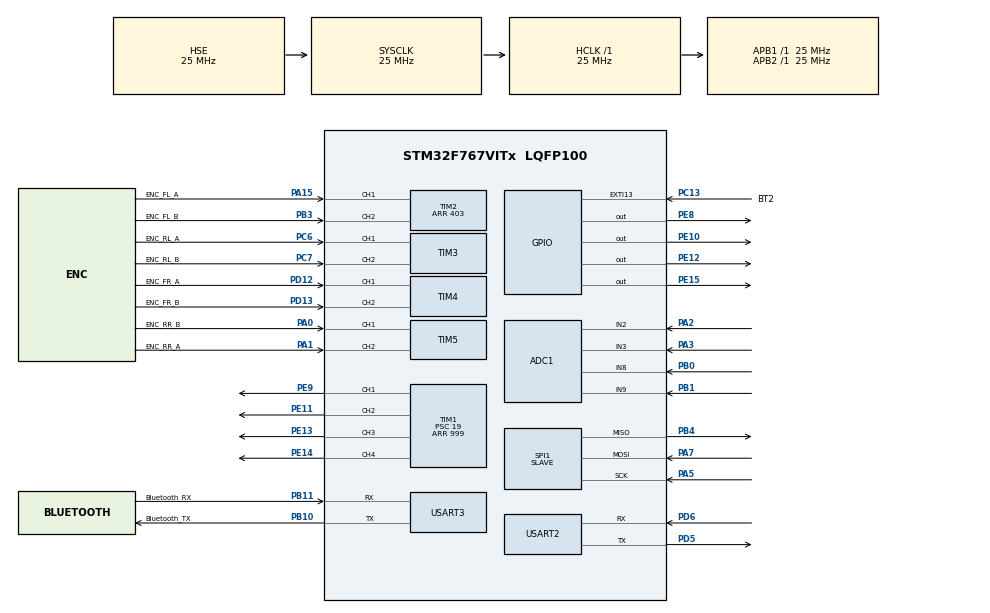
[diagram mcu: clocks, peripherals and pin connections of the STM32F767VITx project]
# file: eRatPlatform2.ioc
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ADC1.Channel-0\#ChannelRegularConversion=ADC_CHANNEL_9
ADC1.Channel-1\#ChannelRegularConversion=ADC_CHANNEL_8
ADC1.Channel-2\#ChannelRegularConversion=ADC_CHANNEL_3
ADC1.Channel-3\#ChannelRegularConversion=ADC_CHANNEL_2
ADC1.ContinuousConvMode=ENABLE
ADC1.DMAContinuousRequests=ENABLE
ADC1.EOCSelection=ADC_EOC_SEQ_CONV
ADC1.EnableAnalogWatchDog=false
ADC1.NbrOfConversion=4
ADC1.NbrOfConversionFlag=1
ADC1.Rank-0\#ChannelRegularConversion=1
ADC1.Rank-1\#ChannelRegularConversion=2
ADC1.Rank-2\#ChannelRegularConversion=3
ADC1.Rank-3\#ChannelRegularConversion=4
ADC1.SamplingTime-0\#ChannelRegularConversion=ADC_SAMPLETIME_480CYCLES
ADC1.SamplingTime-1\#ChannelRegularConversion=ADC_SAMPLETIME_480CYCLES
ADC1.SamplingTime-2\#ChannelRegularConversion=ADC_SAMPLETIME_480CYCLES
ADC1.SamplingTime-3\#ChannelRegularConversion=ADC_SAMPLETIME_480CYCLES
ADC1.master=1
Dma.ADC1.0.Direction=DMA_PERIPH_TO_MEMORY
Dma.ADC1.0.FIFOMode=DMA_FIFOMODE_DISABLE
Dma.ADC1.0.Instance=DMA2_Stream0
Dma.ADC1.0.MemDataAlignment=DMA_MDATAALIGN_HALFWORD
Dma.ADC1.0.MemInc=DMA_MINC_ENABLE
Dma.ADC1.0.Mode=DMA_CIRCULAR
Dma.ADC1.0.PeriphDataAlignment=DMA_PDATAALIGN_HALFWORD
Dma.ADC1.0.PeriphInc=DMA_PINC_DISABLE
Dma.ADC1.0.Priority=DMA_PRIORITY_LOW
Dma.Request0=ADC1
Dma.Request1=USART3_RX
Dma.Request2=USART3_TX
Dma.USART3_RX.1.Direction=DMA_PERIPH_TO_MEMORY
Dma.USART3_RX.1.FIFOMode=DMA_FIFOMODE_DISABLE
Dma.USART3_RX.1.Instance=DMA1_Stream1
Dma.USART3_RX.1.MemDataAlignment=DMA_MDATAALIGN_BYTE
Dma.USART3_RX.1.MemInc=DMA_MINC_ENABLE
Dma.USART3_RX.1.Mode=DMA_NORMAL
Dma.USART3_RX.1.PeriphDataAlignment=DMA_PDATAALIGN_BYTE
Dma.USART3_RX.1.PeriphInc=DMA_PINC_DISABLE
Dma.USART3_RX.1.Priority=DMA_PRIORITY_LOW
Dma.USART3_TX.2.Direction=DMA_MEMORY_TO_PERIPH
Dma.USART3_TX.2.FIFOMode=DMA_FIFOMODE_DISABLE
Dma.USART3_TX.2.Instance=DMA1_Stream3
Dma.USART3_TX.2.MemDataAlignment=DMA_MDATAALIGN_BYTE
Dma.USART3_TX.2.MemInc=DMA_MINC_ENABLE
Dma.USART3_TX.2.Mode=DMA_NORMAL
Dma.USART3_TX.2.PeriphDataAlignment=DMA_PDATAALIGN_BYTE
Dma.USART3_TX.2.PeriphInc=DMA_PINC_DISABLE
Dma.USART3_TX.2.Priority=DMA_PRIORITY_LOW
FREERTOS.Tasks01=defaultTask,0,128,StartDefaultTask,Default,NULL
Mcu.Family=STM32F7
Mcu.Name=STM32F767VITx
Mcu.Package=LQFP100
NVIC.ADC_IRQn=true\:5\:0\:false\:false\:true\:true\:true\:true
NVIC.DMA1_Stream1_IRQn=true\:5\:0\:false\:false\:true\:true\:false\:true
NVIC.DMA1_Stream3_IRQn=true\:5\:0\:false\:false\:true\:true\:false\:true
NVIC.DMA2_Stream0_IRQn=true\:5\:0\:false\:false\:true\:true\:false\:true
NVIC.EXTI15_10_IRQn=true\:0\:0\:false\:false\:true\:false\:true\:true
NVIC.PriorityGroup=NVIC_PRIORITYGROUP_4
NVIC.TIM8_TRG_COM_TIM14_IRQn=true\:0\:0\:false\:false\:true\:false\:false\:true
NVIC.TimeBase=TIM8_TRG_COM_TIM14_IRQn
NVIC.TimeBaseIP=TIM14
NVIC.USART3_IRQn=true\:5\:0\:false\:false\:true\:true\:true\:true
PA0/WKUP.GPIO_Label=ENC_RR_B
PA0/WKUP.Signal=S_TIM5_CH1
PA1.GPIO_Label=ENC_RR_A
PA1.Signal=S_TIM5_CH2
PA13.Mode=Serial_Wire
PA13.Signal=SYS_JTMS-SWDIO
PA14.Mode=Serial_Wire
PA14.Signal=SYS_JTCK-SWCLK
PA15.GPIO_Label=ENC_FL_A
PA15.Signal=S_TIM2_CH1_ETR
PA2.Signal=ADCx_IN2
PA3.Signal=ADCx_IN3
PA5.Mode=Full_Duplex_Slave
PA5.Signal=SPI1_SCK
PA7.Mode=Full_Duplex_Slave
PA7.Signal=SPI1_MOSI
PB0.Signal=ADCx_IN8
PB1.Signal=ADCx_IN9
PB10.GPIO_Label=Bluetooth_TX
PB10.Mode=Asynchronous
PB10.Signal=USART3_TX
PB11.GPIO_Label=Bluetooth_RX
PB11.Mode=Asynchronous
PB11.Signal=USART3_RX
PB3.GPIO_Label=ENC_FL_B
PB3.Signal=S_TIM2_CH2
PB4.Mode=Full_Duplex_Slave
PB4.Signal=SPI1_MISO
PC13.GPIO_Label=BT2
PC13.GPIO_ModeDefaultEXTI=GPIO_MODE_IT_RISING
PC13.Signal=GPXTI13
PC14/OSC32_IN.Mode=LSE-External-Oscillator
PC14/OSC32_IN.Signal=RCC_OSC32_IN
PC15/OSC32_OUT.Mode=LSE-External-Oscillator
PC15/OSC32_OUT.Signal=RCC_OSC32_OUT
PC6.GPIO_Label=ENC_RL_A
PC6.Signal=S_TIM3_CH1
PC7.GPIO_Label=ENC_RL_B
PC7.Signal=S_TIM3_CH2
PD12.GPIO_Label=ENC_FR_A
PD12.Signal=S_TIM4_CH1
PD13.GPIO_Label=ENC_FR_B
PD13.Signal=S_TIM4_CH2
PD5.Mode=Asynchronous
PD5.Signal=USART2_TX
PD6.Mode=Asynchronous
PD6.Signal=USART2_RX
PE10.Signal=GPIO_Output
PE11.Signal=S_TIM1_CH2
PE12.Signal=GPIO_Output
PE13.Signal=S_TIM1_CH3
PE14.Signal=S_TIM1_CH4
PE15.Signal=GPIO_Output
PE8.Signal=GPIO_Output
PE9.Signal=S_TIM1_CH1
PH0/OSC_IN.Mode=HSE-External-Oscillator
PH0/OSC_IN.Signal=RCC_OSC_IN
PH1/OSC_OUT.Mode=HSE-External-Oscillator
PH1/OSC_OUT.Signal=RCC_OSC_OUT
ProjectManager.HeapSize=0x200
ProjectManager.StackSize=0x400
ProjectManager.TargetToolchain=SW4STM32
RCC.AHBFreq_Value=25000000
RCC.APB1Freq_Value=25000000
RCC.APB1TimFreq_Value=25000000
RCC.APB2Freq_Value=25000000
RCC.APB2TimFreq_Value=25000000
RCC.CortexFreq_Value=25000000
RCC.EnbaleCSS=true
RCC.HCLKFreq_Value=25000000
RCC.HSE_VALUE=25000000
RCC.HSI_VALUE=16000000
RCC.PLLM=12
RCC.PLLN=144
RCC.PLLQ=5
RCC.PLLSourceVirtual=RCC_PLLSOURCE_HSE
RCC.SYSCLKFreq_VALUE=25000000
RCC.SYSCLKSource=RCC_SYSCLKSOURCE_HSE
RCC.USBFreq_Value=60000000
RCC.VCOOutputFreq_Value=300000000
SH.ADCx_IN2.0=ADC1_IN2,IN2
SH.ADCx_IN3.0=ADC1_IN3,IN3
SH.ADCx_IN8.0=ADC1_IN8,IN8
SH.ADCx_IN9.0=ADC1_IN9,IN9
SH.S_TIM1_CH1.0=TIM1_CH1,PWM Generation1 CH1
SH.S_TIM1_CH2.0=TIM1_CH2,PWM Generation2 CH2
SH.S_TIM1_CH3.0=TIM1_CH3,PWM Generation3 CH3
SH.S_TIM1_CH4.0=TIM1_CH4,PWM Generation4 CH4
SH.S_TIM2_CH1_ETR.0=TIM2_CH1,Encoder_Interface
SH.S_TIM2_CH2.0=TIM2_CH2,Encoder_Interface
SH.S_TIM3_CH1.0=TIM3_CH1,Encoder_Interface
SH.S_TIM3_CH2.0=TIM3_CH2,Encoder_Interface
SH.S_TIM4_CH1.0=TIM4_CH1,Encoder_Interface
SH.S_TIM4_CH2.0=TIM4_CH2,Encoder_Interface
SH.S_TIM5_CH1.0=TIM5_CH1,Encoder_Interface
SH.S_TIM5_CH2.0=TIM5_CH2,Encoder_Interface
SPI1.Direction=SPI_DIRECTION_2LINES
SPI1.Mode=SPI_MODE_SLAVE
SPI1.VirtualType=VM_SLAVE
TIM1.Channel-PWM\ Generation1\ CH1=TIM_CHANNEL_1
TIM1.Channel-PWM\ Generation2\ CH2=TIM_CHANNEL_2
TIM1.Channel-PWM\ Generation3\ CH3=TIM_CHANNEL_3
TIM1.Channel-PWM\ Generation4\ CH4=TIM_CHANNEL_4
TIM1.Period=999
TIM1.Prescaler=19
TIM2.IC2Filter=15
TIM2.Period=403
USART2.VirtualMode-Asynchronous=VM_ASYNC
USART3.VirtualMode-Asynchronous=VM_ASYNC
VP_FREERTOS_VS_CMSIS_V1.Mode=CMSIS_V1
VP_SYS_VS_tim14.Mode=TIM14
board=custom

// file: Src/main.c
/* USER CODE BEGIN Header */
/**
  ******************************************************************************
  * @file           : main.c
  * @brief          : Main program body
  ******************************************************************************
  * @attention
  *
  * <h2><center>&copy; Copyright (c) 2019 STMicroelectronics.
  * All rights reserved.</center></h2>
  *
  * This software component is licensed by ST under Ultimate Liberty license
  * SLA0044, the "License"; You may not use this file except in compliance with
  * the License. You may obtain a copy of the License at:
  *                             www.st.com/SLA0044
  *
  ******************************************************************************
  */
/* USER CODE END Header */

#include "main.h"
#include "cmsis_os.h"
#include "adc.h"
#include "dma.h"
#include "spi.h"
#include "tim.h"
#include "usart.h"
#include "gpio.h"

/* USER CODE BEGIN PV */
/* Private variables ---------------------------------------------------------*/

/* USER CODE END PV */

void SystemClock_Config(void);
void MX_FREERTOS_Init(void);
/* USER CODE BEGIN PFP */
/* Private function prototypes -----------------------------------------------*/

/* USER CODE END PFP */

int main(void)
{

  /* MCU Configuration--------------------------------------------------------*/

  /* Reset of all peripherals, Initializes the Flash interface and the Systick. */
  HAL_Init();

  /* Configure the system clock */
  SystemClock_Config();

  /* Initialize all configured peripherals */
  MX_GPIO_Init();
  MX_DMA_Init();
  MX_TIM1_Init();
  MX_TIM2_Init();
  MX_TIM3_Init();
  MX_TIM4_Init();
  MX_TIM5_Init();
  MX_USART2_UART_Init();
  MX_SPI1_Init();
  MX_ADC1_Init();
  MX_USART3_UART_Init();

  /* Call init function for freertos objects (in freertos.c) */
  MX_FREERTOS_Init();

  /* Start scheduler */
  osKernelStart();

  /* We should never get here as control is now taken by the scheduler */

  /* Infinite loop */
  while (1)
  {

  }
}

void SystemClock_Config(void)
{
  RCC_OscInitTypeDef RCC_OscInitStruct = {0};
  RCC_ClkInitTypeDef RCC_ClkInitStruct = {0};
  RCC_PeriphCLKInitTypeDef PeriphClkInitStruct = {0};

  /** Configure LSE Drive Capability
  */
  HAL_PWR_EnableBkUpAccess();
  /** Configure the main internal regulator output voltage
  */
  __HAL_RCC_PWR_CLK_ENABLE();
  __HAL_PWR_VOLTAGESCALING_CONFIG(PWR_REGULATOR_VOLTAGE_SCALE3);
  /** Initializes the CPU, AHB and APB busses clocks
  */
  RCC_OscInitStruct.OscillatorType = RCC_OSCILLATORTYPE_HSE;
  RCC_OscInitStruct.HSEState = RCC_HSE_ON;
  RCC_OscInitStruct.PLL.PLLState = RCC_PLL_NONE;
  if (HAL_RCC_OscConfig(&RCC_OscInitStruct) != HAL_OK)
  {
    Error_Handler();
  }
  /** Initializes the CPU, AHB and APB busses clocks
  */
  RCC_ClkInitStruct.ClockType = RCC_CLOCKTYPE_HCLK|RCC_CLOCKTYPE_SYSCLK
                              |RCC_CLOCKTYPE_PCLK1|RCC_CLOCKTYPE_PCLK2;
  RCC_ClkInitStruct.SYSCLKSource = RCC_SYSCLKSOURCE_HSE;
  RCC_ClkInitStruct.AHBCLKDivider = RCC_SYSCLK_DIV1;
  RCC_ClkInitStruct.APB1CLKDivider = RCC_HCLK_DIV1;
  RCC_ClkInitStruct.APB2CLKDivider = RCC_HCLK_DIV1;

  if (HAL_RCC_ClockConfig(&RCC_ClkInitStruct, FLASH_LATENCY_0) != HAL_OK)
  {
    Error_Handler();
  }
  PeriphClkInitStruct.PeriphClockSelection = RCC_PERIPHCLK_USART2|RCC_PERIPHCLK_USART3;
  PeriphClkInitStruct.Usart2ClockSelection = RCC_USART2CLKSOURCE_PCLK1;
  PeriphClkInitStruct.Usart3ClockSelection = RCC_USART3CLKSOURCE_PCLK1;
  if (HAL_RCCEx_PeriphCLKConfig(&PeriphClkInitStruct) != HAL_OK)
  {
    Error_Handler();
  }
  /** Enables the Clock Security System
  */
  HAL_RCC_EnableCSS();
}

void HAL_TIM_PeriodElapsedCallback(TIM_HandleTypeDef *htim)
{
  if (htim->Instance == TIM14) {
    HAL_IncTick();
  }
}

void Error_Handler(void)
{
  while(1)
  {
  }
}

/************************ (C) COPYRIGHT STMicroelectronics *****END OF FILE****/

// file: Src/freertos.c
/* USER CODE BEGIN Header */
/**
  ******************************************************************************
  * File Name          : freertos.c
  * Description        : Code for freertos applications
  ******************************************************************************
  * @attention
  *
  * <h2><center>&copy; Copyright (c) 2019 STMicroelectronics.
  * All rights reserved.</center></h2>
  *
  * This software component is licensed by ST under Ultimate Liberty license
  * SLA0044, the "License"; You may not use this file except in compliance with
  * the License. You may obtain a copy of the License at:
  *                             www.st.com/SLA0044
  *
  ******************************************************************************
  */
/* USER CODE END Header */

#include "FreeRTOS.h"
#include "task.h"
#include "main.h"
#include "cmsis_os.h"

/* USER CODE BEGIN Includes */
#include "Libraries/MonolithDrive.h"
#include "tim.h"
/* USER CODE END Includes */

/* USER CODE BEGIN Variables */
extern uint16_t Sensors[4];  // 0, 1 - FRONT, 2 - RIGHT, 3- LEFT
extern ADC_HandleTypeDef hadc1;
extern uint16_t encoderFL;
extern uint16_t encoderRL;
extern uint16_t encoderFR;
extern uint16_t encoderRR;
/* UART VARIABLES BEGIN */

/* UART VARIABLES END */

/* FREERTOS VARIABLES BEGIN */
/* THREADS */
osThreadId floodFillTaskHandle;
osThreadId stopTaskHandle;
extern osThreadId driveForwardTaskHandle;
/* SEMAPHORES */
osSemaphoreDef (adc_semaphore);
extern osSemaphoreId (adc_semaphore_id);
/* MESSAGE QUEUES */

/* FREERTOS VARIABLES END */

/* USER CODE END Variables */
osThreadId defaultTaskHandle;

/* USER CODE BEGIN FunctionPrototypes */
extern void floodFillTask(void const * argument);
void stopTask(void const * argument);
/* USER CODE END FunctionPrototypes */

void StartDefaultTask(void const * argument);

void MX_FREERTOS_Init(void); /* (MISRA C 2004 rule 8.1) */

void MX_FREERTOS_Init(void) {

  /* USER CODE BEGIN RTOS_SEMAPHORES */
  /* UART */

  /* ADC */

  /* USER CODE END RTOS_SEMAPHORES */
  adc_semaphore_id = osSemaphoreCreate(osSemaphore(adc_semaphore), 1);

  /* Create the thread(s) */
  /* definition and creation of defaultTask */
  osThreadDef(defaultTask, StartDefaultTask, osPriorityNormal, 0, 128);
  defaultTaskHandle = osThreadCreate(osThread(defaultTask), NULL);

  /* USER CODE BEGIN RTOS_THREADS */
  osThreadDef(stopTask, stopTask, osPriorityHigh, 0, 128);
  stopTaskHandle = osThreadCreate(osThread(stopTask), NULL);
  /* USER CODE END RTOS_THREADS */

}

void StartDefaultTask(void const * argument)
{
  /* USER CODE BEGIN StartDefaultTask */
	osDelay(1000);
	drive_straight(250);
  /* Infinite loop */
  for(;;)
  {
	  osDelay(15000);
	  drive_hard_stop();
  }
  /* USER CODE END StartDefaultTask */
}

/* USER CODE BEGIN Application */
void stopTask(void const * argument){

	for(;;){
		if(Sensors[0] > 2000 || Sensors[1] > 2000){
			drive_hard_stop();
		}
		osDelay(1);
	}
}
/* USER CODE END Application */

/************************ (C) COPYRIGHT STMicroelectronics *****END OF FILE****/
